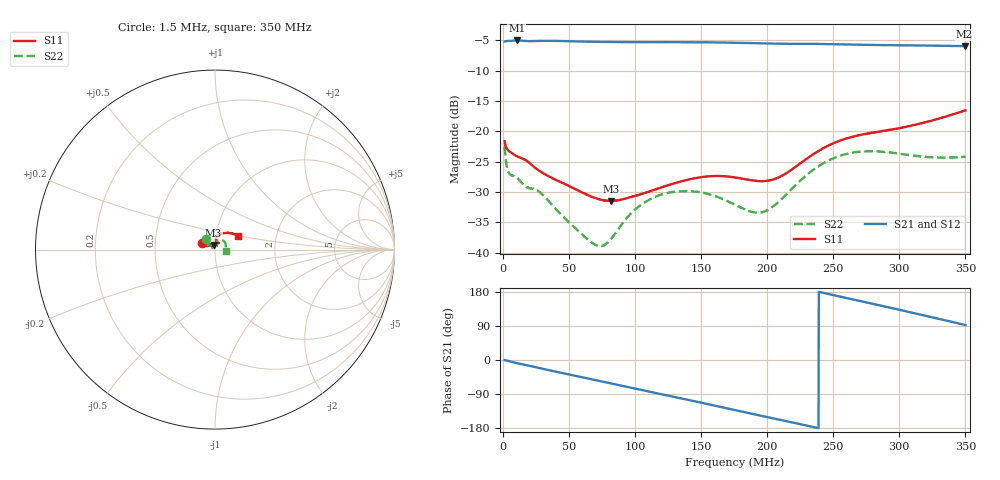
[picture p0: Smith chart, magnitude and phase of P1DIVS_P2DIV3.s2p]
# Hz S RI R 50
! RAW DATA - UNCALIBRATED
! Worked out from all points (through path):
!   1601 points, 1.5 MHz to 350 MHz, reference 50 ohm
!   highest |S21| = -5.00 dB at 10.65 MHz (marker M1); lowest = -5.9 dB at 349.3 MHz (marker M2)
!   group delay of S21, straight-line fit = 2.11 ns
!   lowest |S11| = -31.5 dB at 81.87 MHz (marker M3), VSWR 1.05, Z = 49.2 + j2.52 ohm
!   |S11| at or under -10 dB: start of sweep to end of sweep
!   |S22| runs from -38.9 to -22.5 dB; largest |S21 - S12| = 0.025
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1500000  -0.0732 0.0394  0.5506 -0.00168  0.5502 -0.00903  -0.0487 0.0569
4767188  -0.0651 0.0231  0.557 -0.0297  0.5563 -0.0331  -0.0381 0.025
1.064812e7  -0.0571 0.0258  0.5564 -0.0805  0.5485 -0.0771  -0.0337 0.0246
1.783594e7  -0.0483 0.0315  0.5403 -0.1306  0.5409 -0.1297  -0.0249 0.0248
2.916219e7  -0.033 0.0326  0.5158 -0.2117  0.5095 -0.2077  -0.0146 0.0272
5.965594e7  -0.0136 0.0286  0.3887 -0.3899  0.3907 -0.3875  -0.00385 0.0138
7.272469e7  -0.00915 0.0261  0.3145 -0.4482  0.3154 -0.4444  -0.00601 0.00969
8.187281e7  -0.00767 0.0256  0.2589 -0.4807  0.26 -0.4754  -0.00988 0.00838
9.908e7  -0.00455 0.0289  0.1449 -0.5255  0.1505 -0.5186  -0.0171 0.0141
1.178119e8  0.00164 0.0339  0.0129 -0.5448  0.0222 -0.539  -0.0153 0.0254
1.319697e8  0.00771 0.0372  -0.0858 -0.5371  -0.0742 -0.5344  -0.00812 0.031
1.463453e8  0.0141 0.0389  -0.1835 -0.511  -0.1707 -0.5125  0.000925 0.0319
1.7575e8  0.0212 0.036  -0.3615 -0.3983  -0.3495 -0.4065  0.0104 0.0226
1.892544e8  0.0185 0.0348  -0.4235 -0.3252  -0.4136 -0.3356  0.0079 0.0201
1.990559e8  0.0144 0.0364  -0.4597 -0.2664  -0.4507 -0.279  0.00483 0.0216
2.114712e8  0.00839 0.0425  -0.4941 -0.1881  -0.487 -0.2024  0.00209 0.0281
2.339059e8  0.00506 0.0636  -0.5264 -0.0359  -0.5242 -0.0529  0.00965 0.0464
2.5939e8  0.0209 0.0845  -0.5015 0.1429  -0.5057 0.1272  0.0367 0.0537
2.920619e8  0.0475 0.0914  -0.3876 0.3381  -0.3987 0.3227  0.0586 0.0329
3.225556e8  0.0782 0.0928  -0.2134 0.4629  -0.233 0.4535  0.06 0.0134
3.493466e8  0.1255 0.0793  -0.024 0.5036  -0.0481 0.5041  0.0616 -0.00538
3.5e8  0.1266 0.0785  -0.0187 0.5041  -0.0435 0.5046  0.0617 -0.00592
